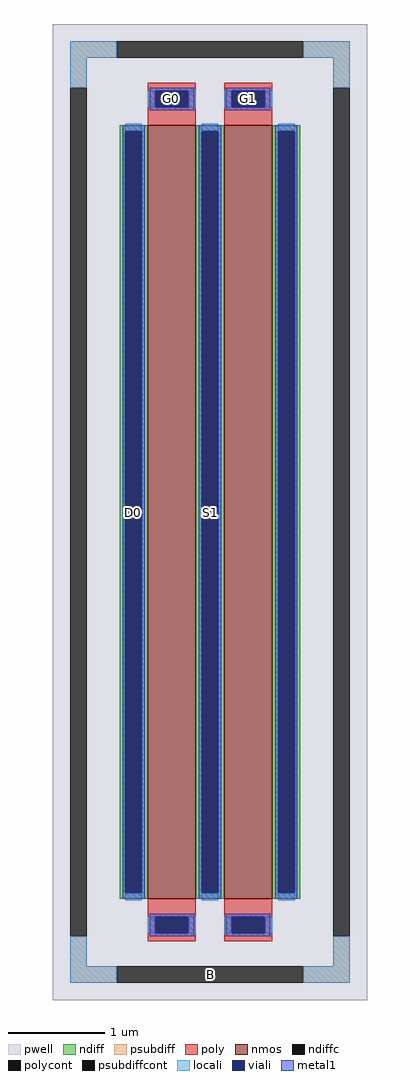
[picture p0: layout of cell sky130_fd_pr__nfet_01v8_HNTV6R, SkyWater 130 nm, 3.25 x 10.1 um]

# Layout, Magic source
magic
tech sky130A
magscale 1 2
<< pwell >>
rect -325 -1010 325 1010
<< nmos >>
rect -129 -800 -29 800
rect 29 -800 129 800
<< ndiff >>
rect -187 788 -129 800
rect -187 -788 -175 788
rect -141 -788 -129 788
rect -187 -800 -129 -788
rect -29 788 29 800
rect -29 -788 -17 788
rect 17 -788 29 788
rect -29 -800 29 -788
rect 129 788 187 800
rect 129 -788 141 788
rect 175 -788 187 788
rect 129 -800 187 -788
<< ndiffc >>
rect -175 -788 -141 788
rect -17 -788 17 788
rect 141 -788 175 788
<< psubdiff >>
rect -289 940 -193 974
rect 193 940 289 974
rect -289 878 -255 940
rect 255 878 289 940
rect -289 -940 -255 -878
rect 255 -940 289 -878
rect -289 -974 -193 -940
rect 193 -974 289 -940
<< psubdiffcont >>
rect -193 940 193 974
rect -289 -878 -255 878
rect 255 -878 289 878
rect -193 -974 193 -940
<< poly >>
rect -129 872 -29 888
rect -129 838 -113 872
rect -45 838 -29 872
rect -129 800 -29 838
rect 29 872 129 888
rect 29 838 45 872
rect 113 838 129 872
rect 29 800 129 838
rect -129 -838 -29 -800
rect -129 -872 -113 -838
rect -45 -872 -29 -838
rect -129 -888 -29 -872
rect 29 -838 129 -800
rect 29 -872 45 -838
rect 113 -872 129 -838
rect 29 -888 129 -872
<< polycont >>
rect -113 838 -45 872
rect 45 838 113 872
rect -113 -872 -45 -838
rect 45 -872 113 -838
<< locali >>
rect -289 940 -193 974
rect 193 940 289 974
rect -289 878 -255 940
rect 255 878 289 940
rect -129 838 -113 872
rect -45 838 -29 872
rect 29 838 45 872
rect 113 838 129 872
rect -175 788 -141 804
rect -175 -804 -141 -788
rect -17 788 17 804
rect -17 -804 17 -788
rect 141 788 175 804
rect 141 -804 175 -788
rect -129 -872 -113 -838
rect -45 -872 -29 -838
rect 29 -872 45 -838
rect 113 -872 129 -838
rect -289 -940 -255 -878
rect 255 -940 289 -878
rect -289 -974 -193 -940
rect 193 -974 289 -940
<< viali >>
rect -113 838 -45 872
rect 45 838 113 872
rect -175 -788 -141 788
rect -17 -788 17 788
rect 141 -788 175 788
rect -113 -872 -45 -838
rect 45 -872 113 -838
<< metal1 >>
rect -125 872 -33 878
rect -125 838 -113 872
rect -45 838 -33 872
rect -125 832 -33 838
rect 33 872 125 878
rect 33 838 45 872
rect 113 838 125 872
rect 33 832 125 838
rect -181 788 -135 800
rect -181 -788 -175 788
rect -141 -788 -135 788
rect -181 -800 -135 -788
rect -23 788 23 800
rect -23 -788 -17 788
rect 17 -788 23 788
rect -23 -800 23 -788
rect 135 788 181 800
rect 135 -788 141 788
rect 175 -788 181 788
rect 135 -800 181 -788
rect -125 -838 -33 -832
rect -125 -872 -113 -838
rect -45 -872 -33 -838
rect -125 -878 -33 -872
rect 33 -838 125 -832
rect 33 -872 45 -838
rect 113 -872 125 -838
rect 33 -878 125 -872
<< labels >>
rlabel psubdiffcont 0 -957 0 -957 0 B
port 1 nsew
rlabel ndiffc -158 0 -158 0 0 D0
port 2 nsew
rlabel polycont -79 855 -79 855 0 G0
port 3 nsew
rlabel ndiffc 0 0 0 0 0 S1
port 4 nsew
rlabel polycont 79 855 79 855 0 G1
port 5 nsew
<< properties >>
string FIXED_BBOX -272 -957 272 957
string gencell sky130_fd_pr__nfet_01v8
string library sky130
string parameters w 8.0 l 0.5 m 1 nf 2 diffcov 100 polycov 100 guard 1 glc 1 grc 1 gtc 1 gbc 1 tbcov 100 rlcov 100 topc 1 botc 1 poverlap 0 doverlap 1 lmin 0.15 wmin 0.42 class mosfet compatible {sky130_fd_pr__nfet_01v8 sky130_fd_pr__nfet_01v8_lvt  sky130_fd_bs_flash__special_sonosfet_star  sky130_fd_pr__nfet_g5v0d10v5 sky130_fd_pr__nfet_05v0_nvt  sky130_fd_pr__nfet_03v3_nvt} full_metal 1 conn_gates 0 viasrc 100 viadrn 100 viagate 100 viagb 0 viagr 0 viagl 0 viagt 0 doports 1
<< end >>
